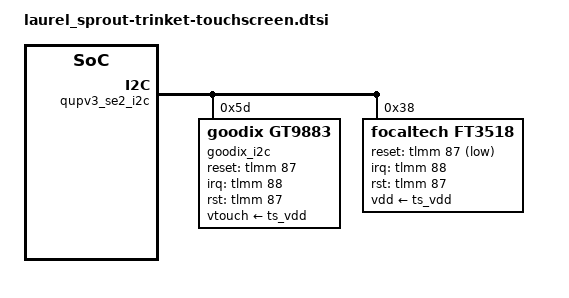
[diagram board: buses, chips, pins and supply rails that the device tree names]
&qupv3_se2_i2c {
	goodix_i2c@5d {
		compatible = "goodix,gt9883";
		reg = <0x5d>;
		status = "ok";
		interrupt-parent = <&tlmm>;
		interrupts = <88 0x2800>;
		vtouch-supply = <&ts_vdd>;
		pinctrl-names = "pmx_ts_active","pmx_ts_suspend";
		pinctrl-0 = <&ts_int_active &ts_reset_active>;
		pinctrl-1 = <&ts_int_suspend &ts_reset_suspend>;
		goodix,reset-gpio = <&tlmm 87 0x0>;
		goodix,irq-gpio = <&tlmm 88 0x2800>;
		goodix,irq-flags = <2>; /* 1:trigger rising, 2:trigger falling;*/
		goodix,panel-max-id = <10>;
		goodix,panel-max-x = <720>;
		goodix,panel-max-y = <1560>;
		goodix,panel-max-w = <512>;
		goodix,panel-max-p = <512>;
		goodix,power-on-delay-us = <300000>; /*300ms*/
		goodix,power-off-delay-us = <5000>;
		touchpanel,rst-gpio = <&tlmm 87 0x0>;
		touchpanel,irq-gpio = <&tlmm 88 0x0>;
		touchpanel,open_short_not_use_fw;
		/*goodix,swap-axis;*/
		goodix,x2x;
		goodix,y2y;
		sensor1 {
			normal-cfg = [];
		};
	};

	focaltech@38{
		compatible = "focaltech,ft3518";
		reg = <0x38>;
		interrupt-parent = <&tlmm>;
		interrupts = <88 0x02>;
		vdd-supply = <&ts_vdd>;
		focaltech,reset-gpio = <&tlmm 87 0x01>;
		focaltech,irq-gpio = <&tlmm 88 0x02>;
		focaltech,max-touch-number = <10>;
		focaltech,display-coords =  <0 0 720 1560>;

		pinctrl-names = "pmx_ts_active","pmx_ts_suspend","pmx_ts_release";
		pinctrl-0 = <&ts_int_active &ts_reset_active>;
		pinctrl-1 = <&ts_int_suspend &ts_reset_suspend>;
		pinctrl-2 = <&ts_release>;

		focaltech,have-key;
		focaltech,key-number = <3>;
		focaltech,keys = <139 102 158>;
		focaltech,key-x-coords = <200 600 800>;
		focaltech,key-y-coords = <2000 2000 2000>;
		touchpanel,rst-gpio = <&tlmm 87 0x0>;
		touchpanel,irq-gpio = <&tlmm 88 0x0>;
		touchpanel,open_short_not_use_fw;
	};
};
